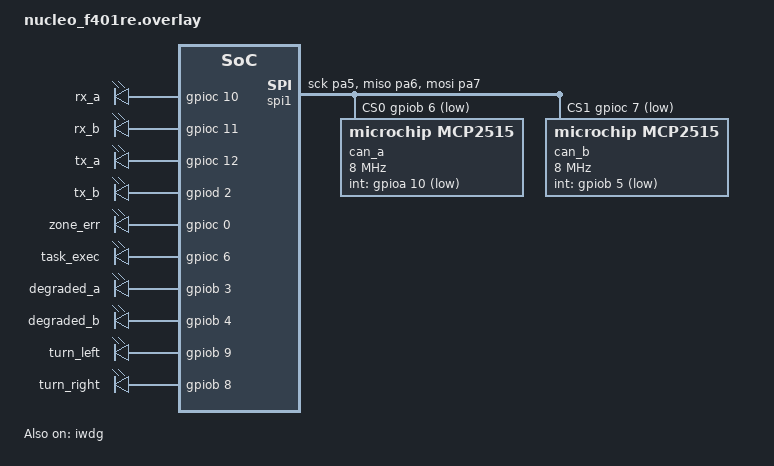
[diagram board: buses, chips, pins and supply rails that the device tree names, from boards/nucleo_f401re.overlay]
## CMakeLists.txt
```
cmake_minimum_required(VERSION 3.20.0)
set(NODE_ID 2 CACHE STRING "2=Front, 3=Rear")
if(NODE_ID STREQUAL "3")
  list(APPEND EXTRA_DTC_OVERLAY_FILE "${CMAKE_CURRENT_SOURCE_DIR}/boards/rear.overlay")
  list(APPEND EXTRA_CONF_FILE "${CMAKE_CURRENT_SOURCE_DIR}/rear.conf")
else()
  list(APPEND EXTRA_DTC_OVERLAY_FILE "${CMAKE_CURRENT_SOURCE_DIR}/boards/front.overlay")
  list(APPEND EXTRA_CONF_FILE "${CMAKE_CURRENT_SOURCE_DIR}/front.conf")
endif()
find_package(Zephyr REQUIRED HINTS $ENV{ZEPHYR_BASE})
project(lab3_heartbeat)
set(NODE_ID 2 CACHE STRING "2=Front, 3=Rear")
if(NOT NODE_ID MATCHES "^[23]$")
  message(FATAL_ERROR "NODE_ID must be 2 or 3")
endif()
target_sources(app PRIVATE src/main.c src/runtime.c ../logic/blinkers/blinkers.c ../logic/system/system_state.c)
set(LAB3_PROFILE_TASK 0 CACHE STRING "Optional task execution marker (0=off,1..8)")
target_compile_definitions(app PRIVATE LAB3_PROFILE_TASK=${LAB3_PROFILE_TASK})
target_include_directories(app PRIVATE ../../pi ../../shared ../logic/blinkers ../logic/system)
target_compile_definitions(app PRIVATE NODE_ID=${NODE_ID})
if(NODE_ID STREQUAL "2")
  target_sources(app PRIVATE src/steer_task.c src/relay_task.c src/force_task.c ../logic/steering/servo.c)
  target_include_directories(app PRIVATE ../logic/steering)
else()
  target_sources(app PRIVATE src/drive_task.c ../logic/drive/motor_control.c
                             ../logic/drive/dual_speed_pid.c ../logic/instrumentation/test_points.c)
  target_include_directories(app PRIVATE ../logic/drive ../logic/instrumentation)
endif()
```

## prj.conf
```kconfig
CONFIG_GPIO=y
CONFIG_WATCHDOG=y
# Defer IWDG start to lab3_watchdog_start(); Zephyr otherwise installs a
# 100 ms boot timeout and rejects the application's timeout with -ENOMEM.
CONFIG_WDT_DISABLE_AT_BOOT=y
CONFIG_SPI=y
CONFIG_CAN=y
CONFIG_CAN_MCP2515=y
CONFIG_CAN_INIT_PRIORITY=80
CONFIG_CAN_MAX_FILTER=8
CONFIG_SERIAL=y
CONFIG_CONSOLE=y
CONFIG_UART_CONSOLE=y
CONFIG_PRINTK=y
CONFIG_HWINFO=y
CONFIG_MAIN_STACK_SIZE=2048
CONFIG_LOG=y
CONFIG_LOG_DEFAULT_LEVEL=3
CONFIG_LOG_BUFFER_SIZE=2048
CONFIG_MINIMAL_LIBC=y
CONFIG_PICOLIBC=n
CONFIG_MAIN_THREAD_PRIORITY=6
```

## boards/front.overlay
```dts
#include <zephyr/dt-bindings/pwm/pwm.h>

/ {
    aliases { steering-servo = &steering_servo; relay-tx = &relay_tx; };
    relay_marker {
        compatible = "gpio-leds";
        relay_tx: relay-tx { gpios = <&gpiob 10 GPIO_ACTIVE_HIGH>; }; /* D6 */
    };
    servo_pwms {
        compatible = "pwm-leds";
        steering_servo: steering-servo {
            pwms = <&pwm1 1 PWM_MSEC(20) PWM_POLARITY_NORMAL>;
        };
    };
};

/* Reuse the remote Lab2 servo assignment: Arduino D7 / PA8 / TIM1_CH1.
 * I2C3 is disabled in the common overlay to release PA8. */
&timers1 {
    st,prescaler = <83>;
    status = "okay";
    pwm1: pwm {
        pinctrl-0 = <&tim1_ch1_pa8>;
        pinctrl-names = "default";
        status = "okay";
    };
};
```

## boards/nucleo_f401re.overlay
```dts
#include <zephyr/dt-bindings/gpio/gpio.h>

/ {
    aliases {
        can-a = &can_a; can-b = &can_b;
        degraded-a = &degraded_a; degraded-b = &degraded_b;
        blinker-fl = &turn_left; blinker-fr = &turn_right;
        can-rx-a = &rx_a; can-rx-b = &rx_b;
        can-tx-a = &tx_a; can-tx-b = &tx_b;
        zone-err = &zone_err; task-exec = &task_exec;
    };
    scope_markers {
        compatible = "gpio-leds";
        rx_a: rx-a { gpios = <&gpioc 10 GPIO_ACTIVE_HIGH>; }; /* CN7 pin 1 */
        rx_b: rx-b { gpios = <&gpioc 11 GPIO_ACTIVE_HIGH>; }; /* CN7 pin 2 */
        tx_a: tx-a { gpios = <&gpioc 12 GPIO_ACTIVE_HIGH>; }; /* CN7 pin 3 */
        tx_b: tx-b { gpios = <&gpiod 2 GPIO_ACTIVE_HIGH>; };  /* CN7 pin 4 */
        zone_err: zone-err { gpios = <&gpioc 0 GPIO_ACTIVE_HIGH>; }; /* A5 */
        task_exec: task-exec { gpios = <&gpioc 6 GPIO_ACTIVE_HIGH>; }; /* CN10 pin 4 */
    };
    degraded_leds {
        compatible = "gpio-leds";
        degraded_a: degraded-a { gpios = <&gpiob 3 GPIO_ACTIVE_HIGH>; }; /* Arduino D3 */
        degraded_b: degraded-b { gpios = <&gpiob 4 GPIO_ACTIVE_HIGH>; }; /* Arduino D5 */
    };
    turn_outputs {
        compatible = "gpio-leds";
        turn_left: turn-left { gpios = <&gpiob 9 GPIO_ACTIVE_HIGH>; }; /* Arduino D14 */
        turn_right: turn-right { gpios = <&gpiob 8 GPIO_ACTIVE_HIGH>; }; /* Arduino D15 */
    };
    leds { status = "disabled"; };
    pwmleds { status = "disabled"; };
};
&green_led_2 { status = "disabled"; };
&pwm2 { status = "disabled"; };
/* Release PB6 from the default USART1 mapping, PA5 from LED/PWM. */
&usart1 { status = "disabled"; };
&spi2 { status = "disabled"; };
&i2c1 { status = "disabled"; };
&i2c3 { status = "disabled"; };
&iwdg { status = "okay"; };
&spi1 {
    status = "okay";
    pinctrl-0 = <&spi1_sck_pa5 &spi1_miso_pa6 &spi1_mosi_pa7>;
    pinctrl-names = "default";
    cs-gpios = <&gpiob 6 (GPIO_ACTIVE_LOW | GPIO_PULL_UP)>,
               <&gpioc 7 (GPIO_ACTIVE_LOW | GPIO_PULL_UP)>;
    can_a: mcp2515@0 {
        compatible = "microchip,mcp2515";
        reg = <0>;
        spi-max-frequency = <8000000>; /* 84 MHz APB2 / 16 = 5.25 MHz (MCP2515 max 10 MHz) */
        osc-freq = <16000000>;
        int-gpios = <&gpioa 10 GPIO_ACTIVE_LOW>;
        bitrate = <500000>;
        sample-point = <875>;
        status = "okay";
    };
    can_b: mcp2515@1 {
        compatible = "microchip,mcp2515";
        reg = <1>;
        spi-max-frequency = <8000000>; /* 84 MHz APB2 / 16 = 5.25 MHz (MCP2515 max 10 MHz) */
        osc-freq = <16000000>;
        int-gpios = <&gpiob 5 GPIO_ACTIVE_LOW>;
        bitrate = <500000>;
        sample-point = <875>;
        status = "okay";
    };
};
```

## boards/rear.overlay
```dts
#include <zephyr/dt-bindings/pwm/pwm.h>
#include <zephyr/dt-bindings/gpio/gpio.h>
/ {
    aliases {
        /delete-property/ blinker-fl;
        /delete-property/ blinker-fr;
        blinker-rl = &turn_left;
        blinker-rr = &turn_right;
        motor-left-pwm = &motor_left_pwm;
        motor-right-pwm = &motor_right_pwm;
        motor-left-in1 = &motor_left_in1;
        motor-left-in2 = &motor_left_in2;
        motor-right-in1 = &motor_right_in1;
        motor-right-in2 = &motor_right_in2;
    };
    motor_pwms {
        compatible = "pwm-leds";
        motor_left_pwm: left { pwms = <&pwm2 3 PWM_KHZ(20) PWM_POLARITY_NORMAL>; }; /* D6 */
        motor_right_pwm: right { pwms = <&pwm1 1 PWM_KHZ(20) PWM_POLARITY_NORMAL>; }; /* D7 */
    };
    motor_direction {
        compatible = "gpio-leds";
        motor_left_in1: left-in1 { gpios = <&gpioa 0 GPIO_ACTIVE_HIGH>; }; /* A0 */
        motor_left_in2: left-in2 { gpios = <&gpioa 1 GPIO_ACTIVE_HIGH>; }; /* A1 */
        motor_right_in1: right-in1 { gpios = <&gpioa 4 GPIO_ACTIVE_HIGH>; }; /* A2 */
        motor_right_in2: right-in2 { gpios = <&gpiob 0 GPIO_ACTIVE_HIGH>; }; /* A3 */
    };
    zephyr,user {
        cmd-rx-test-gpios = <&gpioc 1 GPIO_ACTIVE_HIGH>; /* A4: accepted CTRL */
        pwm-set-test-gpios = <&gpioa 9 GPIO_ACTIVE_HIGH>; /* D8: final left PWM write */
    };
};

/* PA6/PA7 stay on SPI1. USART2 console PA2/PA3 remains untouched. */
&timers2 { status = "okay"; st,prescaler = <0>; };
&pwm2 {
    status = "okay";
    pinctrl-0 = <&tim2_ch3_pb10>; /* D6 */
    pinctrl-names = "default";
};
&timers1 {
    status = "okay";
    st,prescaler = <0>;
    pwm1: pwm {
        status = "okay";
        pinctrl-0 = <&tim1_ch1_pa8>; /* D7, Rear only */
        pinctrl-names = "default";
    };
};
```

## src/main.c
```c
/* Dual-CAN dispatch, health, split lights and zone-specific steering/drive outputs. */
#include <zephyr/kernel.h>
#include <zephyr/device.h>
#include <zephyr/drivers/can.h>
#include <zephyr/drivers/gpio.h>
#include <zephyr/sys/atomic.h>
#include <zephyr/sys/printk.h>
#include "lab3_can_rx.h"
#include "lab3_fault_policy.h"
#include "blinkers.h"
#include "system_state.h"
#include "runtime.h"
#include "transport_gate.h"
#if NODE_ID == 2
#include "steer_task.h"
#include "relay_task.h"
#include "force_task.h"
#else
#include "drive_task.h"
#include "test_points.h"
#endif

struct bus {
    const struct device *dev;
    unsigned index;
    bool ready;
    struct k_mutex tx_gate;
    atomic_t tx, tx_errors, dropped;
    uint32_t previous_tx, recoveries;
    int64_t last_progress, last_recovery;
    enum can_state controller_state;
    struct can_bus_err_cnt errors;
    bool tx_stalled;
};
static struct bus buses[] = {
    {.dev = DEVICE_DT_GET(DT_ALIAS(can_a)), .index = 0},
    {.dev = DEVICE_DT_GET(DT_ALIAS(can_b)), .index = 1},
};
struct received { struct can_frame frame; unsigned bus; };
K_MSGQ_DEFINE(received_q, sizeof(struct received), 64, 4);
static struct lab3_can_rx rx;
static const struct gpio_dt_spec leds[] = {
    GPIO_DT_SPEC_GET(DT_ALIAS(degraded_a), gpios),
    GPIO_DT_SPEC_GET(DT_ALIAS(degraded_b), gpios),
};
static struct lab3_health health;
static bool leds_ready;
static uint8_t led_bits = 255;
static struct system_state system_status;
static bool ctrl_seen, ctrl_stale = true, blink_seen, use_master_phase;
static uint64_t ctrl_at, blink_at, remote_fault_until;
static int16_t steering;
static uint8_t throttle, brake, ctrl_buttons, ctrl_flags;
static uint8_t blink_mode, blink_phase, peer_state[3];
static uint32_t ctrl_count, blink_count;
static uint8_t pending_reason, fault_seq, fault_pending;
static uint64_t fault_at;
static struct can_frame fault_frame, hb_frame;
static uint8_t hb_pending;
#define CTRL_TIMEOUT_MS 100u
#define BLINK_TIMEOUT_MS 750u
static void abort_local_tx(void);
static void local_button_action(bool failed)
{
    if (!failed) return; /* Main requires a fresh CTRL before resuming. */
#if NODE_ID == 2
    relay_task_pause();steer_task_submit(0,false,0);
#else
    drive_task_submit(0,0,false,0);
#endif
    abort_local_tx();
}

static void dispatch_frame(const struct received *item, uint64_t now)
{
    const struct can_frame *f = &item->frame;
    lab3_rx_mark(item->bus); /* Every dispatch, including duplicate copies. */
    if (f->flags & (CAN_FRAME_IDE | CAN_FRAME_RTR)) return;
    enum lab3_rx_result result = lab3_receive(&rx,f->id,item->bus,f->data,f->dlc,now);
#if NODE_ID == 2
    relay_task_observe(f,item->bus,result,now);
#endif
    if (result == LAB3_RX_INVALID && f->id == CAN_ID_CTRL) {
        system_state_bad_input(&system_status);
        if (!lab3_local_failed()) pending_reason=FAULT_R_BAD_INPUT;
        return;
    }
    if (result != LAB3_RX_NEW) return;
    int peer=lab3_hb_peer(f->id);
    if (peer>=0) { peer_state[peer]=f->data[HB_STATE]; return; }
    if (f->id==CAN_ID_CTRL) {
#if NODE_ID == 3
        if (test_points_command_received()) {
            system_state_output_failed(&system_status);pending_reason=FAULT_R_OUTPUT;
        }
#endif
        steering=(int16_t)((uint16_t)f->data[1] | ((uint16_t)f->data[2]<<8));
        throttle=f->data[CTRL_THROTTLE]; brake=f->data[CTRL_BRAKE];
        ctrl_buttons=f->data[CTRL_BUTTONS]; ctrl_flags=can_flags_of(f->data);
        ctrl_stale=!!(ctrl_flags & CTRL_FLAG_UDP_STALE);
        if (!ctrl_stale) {
            ctrl_seen=true; ctrl_at=now; system_state_valid(&system_status);
        }
        ++ctrl_count;
    } else if (f->id==CAN_ID_BLINK) {
        blink_mode=f->data[BLINK_MODE]; blink_phase=f->data[BLINK_PHASE];
        blink_seen=true; blink_at=now; ++blink_count;
    } else if (f->id==CAN_ID_FAULT && f->data[FAULT_ZONE]!=NODE_ID) {
        remote_fault_until=now+100;
    }
}

static void update_control_and_lights(uint64_t now)
{
    if (lab3_runtime_failed() && !system_status.output_fault) {
        system_state_output_failed(&system_status);pending_reason=FAULT_R_OUTPUT;
    }
#if NODE_ID == 2
    if ((steer_task_failed() || relay_task_failed()) && !system_status.output_fault) {
        system_state_output_failed(&system_status);
        pending_reason=FAULT_R_OUTPUT;
    }
#else
    if (drive_task_failed() && !system_status.output_fault) {
        system_state_output_failed(&system_status);
        pending_reason=FAULT_R_OUTPUT;
    }
#endif
    bool peer_fault=false;
    for (unsigned p=0;p<3;++p)
        if (p!=NODE_ID-1 && peer_state[p]==ZONE_STATE_LOCAL_FAULT &&
            (lab3_hb_fresh(&rx,p,0,now)||lab3_hb_fresh(&rx,p,1,now))) peer_fault=true;
    system_status.link_ok=ctrl_seen && !ctrl_stale && now-ctrl_at<CTRL_TIMEOUT_MS &&
                          !health.missing_peers && !peer_fault && now>=remote_fault_until;
    enum system_reason reason=system_state_reason(&system_status);
    lab3_err(reason!=SYS_OK);
#if NODE_ID == 2
    steer_task_submit(steering, reason==SYS_OK, ctrl_count);
#else
    drive_task_submit(throttle,brake,reason==SYS_OK,ctrl_count);
#endif
    bool fresh_blink=blink_seen && now-blink_at<BLINK_TIMEOUT_MS;
    bool master_live=lab3_hb_fresh(&rx,0,0,now)||lab3_hb_fresh(&rx,0,1,now);
    bool follow_master=lab3_follow_master(fresh_blink,master_live,reason==SYS_OK,blink_mode);
    int rc=0;
    if (follow_master) {
        static uint8_t applied_mode=255,applied_phase=255;
        if (!use_master_phase || applied_mode!=blink_mode || applied_phase!=blink_phase) {
            rc=blinkers_apply_phase((enum blinker_mode)blink_mode,blink_phase!=0);
            applied_mode=blink_mode;applied_phase=blink_phase;
        }
        use_master_phase=true;
    } else if (reason!=SYS_OK) {
        if (use_master_phase || blinkers_get_mode()!=BLINKER_MODE_HAZARD)
            rc=blinkers_set_error(true);
        use_master_phase=false;
    } else {
        if (use_master_phase || blinkers_get_mode()!=BLINKER_MODE_OFF)
            rc=blinkers_apply_phase(BLINKER_MODE_OFF,false);
        use_master_phase=false;
    }
    if (rc) { system_state_output_failed(&system_status); pending_reason=FAULT_R_OUTPUT; }
}

static void update_health(uint64_t now)
{
    health = lab3_health_get(&rx, NODE_ID - 1, now);
    for (unsigned b = 0; b < 2; ++b) {
        k_mutex_lock(&buses[b].tx_gate,K_FOREVER);
        bool degraded=!buses[b].ready || buses[b].tx_stalled ||
                      buses[b].controller_state==CAN_STATE_BUS_OFF;
        k_mutex_unlock(&buses[b].tx_gate);
        if (degraded) health.degraded|=1u<<b;
    }
    uint8_t display = health.degraded;
    if (leds_ready && led_bits != display) {
        int a = gpio_pin_set_dt(&leds[0], !!(display & 1));
        int b = gpio_pin_set_dt(&leds[1], !!(display & 2));
        if (!a && !b) led_bits = display;
        else printk("DEG output failed %d/%d\n", a, b);
        printk("N%d DEG_A=%d DEG_B=%d missing_peers=0x%x isolated=%d\n", NODE_ID,
            !!(health.degraded & 1), !!(health.degraded & 2), health.missing_peers, health.isolated);
    }
}

static void tx_done(const struct device *dev, int error, void *arg)
{
    ARG_UNUSED(dev);
    struct bus *b = arg;
    if (error) atomic_inc(&b->tx_errors); else atomic_inc(&b->tx);
}
static bool frame_allowed(const struct can_frame *frame)
{ return lab3_tx_allowed(lab3_local_failed(),NODE_ID,frame->id,frame->data); }
static void queue_marked(void *arg)
{ lab3_tx_mark(((struct bus *)arg)->index); }
static int node_send(unsigned bus,const struct can_frame *frame)
{
    struct bus *b=&buses[bus];
    return lab3_transport_send(&b->tx_gate,b->dev,&b->ready,frame,frame_allowed,tx_done,b,queue_marked);
}
static void abort_local_tx(void)
{
    /* TEST_BTN thread, never ISR. Drain old hardware TX under the same
     * per-controller gate used by every send and recovery operation. */
    for (unsigned i=0;i<ARRAY_SIZE(buses);i++) {
        struct bus *b=&buses[i];
        k_mutex_lock(&b->tx_gate,K_FOREVER);
        if (b->ready) (void)lab3_transport_restart_locked(b->dev,&b->ready);
        b->last_progress=b->last_recovery=k_uptime_get();
        b->previous_tx=(uint32_t)atomic_get(&b->tx);b->tx_stalled=false;
        k_mutex_unlock(&b->tx_gate);
    }
}
#if NODE_ID == 2
static int relay_send(unsigned bus,const struct can_frame *frame)
{
    /* Include relay completions in bus progress so recovery does not mistake
     * a busy forwarding controller for a stalled controller. */
    return node_send(bus,frame);
}
#endif
static void receive(const struct device *dev, struct can_frame *frame, void *arg)
{
    ARG_UNUSED(dev);
    struct bus *b = arg;
    struct received item = {.frame = *frame, .bus = b->index};
    if (k_msgq_put(&received_q, &item, K_NO_WAIT)) atomic_inc(&b->dropped);
}
static void recover_controllers(int64_t now)
{
    for (unsigned i = 0; i < ARRAY_SIZE(buses); ++i) {
        struct bus *b = &buses[i];
        if (!device_is_ready(b->dev)) continue;
        if (k_mutex_lock(&b->tx_gate,K_NO_WAIT)) continue;
        uint32_t done = (uint32_t)atomic_get(&b->tx);
        if (done != b->previous_tx) { b->previous_tx = done;b->last_progress = now;b->tx_stalled=false; }
        int rc = can_get_state(b->dev, &b->controller_state, &b->errors);
        if (lab3_local_failed()) { b->last_progress=now;b->tx_stalled=false; }
        else if (now-b->last_progress>=LAB3_HEARTBEAT_TIMEOUT_MS) b->tx_stalled=true;
        bool recover = !b->ready || b->tx_stalled ||
                       (!rc && b->controller_state == CAN_STATE_BUS_OFF);
        /* A missing ACK can leave MCP2515 error-passive with all TX slots held;
         * it need not reach bus-off. Stop aborts TX and releases driver slots.
         * Retry only the affected controller, with staggered bounded backoff. */
        int64_t retry_ms = 60 + NODE_ID * 2 + (int)i * 3;
        if (!recover || now - b->last_recovery < retry_ms) {
            k_mutex_unlock(&b->tx_gate);continue;
        }
        b->last_recovery = now;
        int restart=lab3_transport_restart_locked(b->dev,&b->ready);
        /* A restarted controller stays degraded until actual TX progress.
         * The staggered >=60 ms retry gives it an observation window. */
        ++b->recoveries;
        k_mutex_unlock(&b->tx_gate);
        if (b->recoveries == 1 || b->recoveries % 25 == 0)
            printk("N%d CAN_%c recover=%u state=%d TEC=%u REC=%u restart=%d\n",
                NODE_ID, 'A'+i, b->recoveries, b->controller_state,
                b->errors.tx_err_cnt, b->errors.rx_err_cnt, restart);
    }
}
static void heartbeat(uint8_t seq, uint64_t now)
{
    ARG_UNUSED(now);
    struct can_frame frame = {.id = CAN_ID_HB_N1 + NODE_ID - 1, .dlc = CAN_FRAME_DLC};
    enum system_reason reason=system_state_reason(&system_status);
    frame.data[0] = can_byte0(seq, reason==SYS_OK ? 0 : CAN_FLAG_SYS_ERROR);
    frame.data[HB_STATE] = reason==SYS_OK ? ZONE_STATE_NORMAL :
        (reason==SYS_BAD_INPUT || reason==SYS_OUTPUT_FAULT) ? ZONE_STATE_LOCAL_FAULT : ZONE_STATE_SYS_ERROR;
    frame.data[HB_REASON] = reason;
    frame.data[HB_BUS] = health.degraded;
#if NODE_ID == 3
    struct lab3_drive_status drive=drive_task_status();
    frame.data[HB_DUTY]=drive.duty;
    /* Scope-only output: do not advertise the Lab2 physical-drive armed bit. */
    frame.data[HB_DRIVE_FLAGS]=(drive.braking ? 2u : 0u) | (drive.fault ? 4u : 0u);
#endif
    /* Previously unused bytes expose logical HB deliveries for stage-1 verification. */
    uint16_t applied = lab3_hb_applied_total(&rx);
    frame.data[6] = (uint8_t)applied; frame.data[7] = (uint8_t)(applied >> 8);
    hb_frame=frame;hb_pending=3;
}
static void send_pending_heartbeat(void)
{
    if (lab3_local_failed()) { hb_pending=0;return; }
    for (unsigned b=0;b<2;++b) {
        if (!(hb_pending&(1u<<b))) continue;
        int rc=node_send(b,&hb_frame);
        if (!rc) hb_pending &= ~(1u<<b);
        else if (rc != -EAGAIN) atomic_inc(&buses[b].tx_errors);
    }
}
static void send_pending_fault(uint64_t now)
{
    if (fault_pending && now-fault_at>=100) fault_pending=0;
    if (!fault_pending && pending_reason && now-fault_at>=20) {
        memset(&fault_frame,0,sizeof(fault_frame));
        fault_frame.id=CAN_ID_FAULT;fault_frame.dlc=8;
        fault_frame.data[0]=can_byte0(fault_seq++,CAN_FLAG_SYS_ERROR);
        fault_frame.data[FAULT_ZONE]=NODE_ID;fault_frame.data[FAULT_REASON]=pending_reason;
        pending_reason=0;fault_pending=3;fault_at=now;
    }
    for (unsigned b=0;b<2;++b)
        if ((fault_pending&(1u<<b)) &&
            !node_send(b,&fault_frame)) fault_pending &= ~(1u<<b);
}
int main(void)
{
    printk("\nLAB3 CTRL + BLINK N%d; left D14/right D15\n", NODE_ID);
    for (unsigned b=0;b<ARRAY_SIZE(buses);b++) k_mutex_init(&buses[b].tx_gate);
    int runtime_rc=lab3_runtime_init(local_button_action);
    leds_ready = true;
    for (unsigned b = 0; b < 2; ++b) {
        if (!gpio_is_ready_dt(&leds[b]) || gpio_pin_configure_dt(&leds[b], GPIO_OUTPUT_INACTIVE))
            leds_ready = false;
    }
    int lights_rc=blinkers_init();
    int actuator_rc=0;
#if NODE_ID == 2
    actuator_rc=steer_task_init();
    printk("STEER: D7/PA8, 50 Hz, 1000/1500/2000 us; error centers; init=%d\n",actuator_rc);
#else
    actuator_rc=drive_task_init();
    printk("DRIVE scope outputs: PWM D6/D7 20kHz; DIR A0/A1,A2/A3; CTRL_RX A4; PWM_SET D8; init=%d\n",actuator_rc);
#endif
    system_state_init(&system_status,!runtime_rc && leds_ready && lights_rc==0 && actuator_rc==0);
    if (!lights_rc) (void)blinkers_set_error(true);
    for (unsigned b = 0; b < 2; ++b) {
        struct bus *bus = &buses[b];
        k_mutex_lock(&bus->tx_gate,K_FOREVER);
        if (!device_is_ready(bus->dev)) {
            k_mutex_unlock(&bus->tx_gate);printk("CAN_%c NOT READY\n", 'A' + b);continue;
        }
        int rc = can_set_mode(bus->dev, CAN_MODE_NORMAL);
        if (!rc) rc = can_set_bitrate(bus->dev, 500000);
        for (unsigned p = 0; !rc && p < 3; ++p) {
            struct can_filter f = {.id = CAN_ID_HB_N1 + p, .mask = CAN_STD_ID_MASK};
            int filter = can_add_rx_filter(bus->dev, receive, bus, &f);
            if (filter < 0) rc = filter;
        }
        const uint16_t app_ids[]={CAN_ID_CTRL,CAN_ID_BLINK,CAN_ID_FAULT,CAN_ID_FORCE};
        for (unsigned p=0;!rc && p<ARRAY_SIZE(app_ids);++p) {
            struct can_filter f={.id=app_ids[p],.mask=CAN_STD_ID_MASK};
            int filter=can_add_rx_filter(bus->dev,receive,bus,&f);
            if (filter<0) rc=filter;
        }
        if (!rc) rc = can_start(bus->dev);
        bus->ready = rc == 0;
        bus->controller_state = bus->ready ? CAN_STATE_ERROR_ACTIVE : CAN_STATE_STOPPED;
        bus->last_progress = k_uptime_get();
        k_mutex_unlock(&bus->tx_gate);
        printk("CAN_%c init=%d\n", 'A' + b, rc);
    }
#if NODE_ID == 2
    int relay_rc=relay_task_init(relay_send);
    if (relay_rc) { system_state_output_failed(&system_status);pending_reason=FAULT_R_OUTPUT; }
    printk("RELAY: N2 only, original payload, priority 4, D6 marker; init=%d\n",relay_rc);
    force_task_init(node_send);
#endif
    uint32_t workers=BIT(WORK_MAIN)|BIT(WORK_CONTROL)|BIT(WORK_BUTTON);
#if NODE_ID == 2
    workers|=BIT(WORK_RELAY)|BIT(WORK_FORCE);
#else
    workers|=BIT(WORK_PID);
#endif
    int watchdog_rc=lab3_watchdog_start(workers);
    if (watchdog_rc) { system_state_output_failed(&system_status);pending_reason=FAULT_R_OUTPUT; }
    printk("USER button single=fail/double=restore; ERR=A5; independent watchdog init=%d\n",watchdog_rc);
    int64_t next_hb = k_uptime_get(), next_status = next_hb, next_recovery = next_hb;
    uint8_t seq = 0;
    for (;;) {
        struct received item;
        int64_t now = k_uptime_get();
        int64_t wait = next_hb > now ? next_hb - now : 0;
        if (wait > 1) wait = 1; /* Refresh LED health even when both receive queues are quiet. */
        /* Drain the queue before housekeeping so a CTRL never waits a full loop pass
         * per frame queued ahead of it. Bounded so a babbling bus cannot starve HB. */
        k_timeout_t first = K_MSEC(wait);
        for (unsigned n = 0; n < 16 && !k_msgq_get(&received_q, &item, first); ++n) {
            first = K_NO_WAIT;
            lab3_profile_begin(PROFILE_DISPATCH);
            uint32_t ctrl_before = ctrl_count;
            uint64_t at = (uint64_t)k_uptime_get();
            dispatch_frame(&item, at);
            /* A new CTRL goes straight to STEER/DRIVE, so CAN_RX's C is one pulse. */
            if (ctrl_count != ctrl_before) update_control_and_lights(at);
            lab3_profile_end(PROFILE_DISPATCH);
        }
        now = k_uptime_get();
        bool local_failed=lab3_local_failed();
        if (system_status.self_test!=local_failed) {
            system_status.self_test=local_failed;hb_pending=0;fault_pending=0;
            if (local_failed) pending_reason=FAULT_R_SELF_TEST;
            else { ctrl_seen=false;system_status.seen_valid=false; }
        }
        if (now >= next_recovery) {
            recover_controllers(now);
            next_recovery = k_uptime_get() + 10;
        }
        lab3_profile_begin(PROFILE_HEALTH);
        update_health(now);
        update_control_and_lights(now);
        lab3_profile_end(PROFILE_HEALTH);
        if (now >= next_hb) {
            if (!local_failed) {
                heartbeat(seq, now);
                seq = (seq + 1) & CAN_SEQ_MASK;
            }
            next_hb += ((now - next_hb) / 20 + 1) * 20;
        }
        send_pending_fault(now);
        lab3_profile_begin(PROFILE_HB);
        send_pending_heartbeat();
        lab3_profile_end(PROFILE_HB);
        lab3_watchdog_poll();
        if (now >= next_status) {
            printk("N%d new=%u dup=%u repeat=%u old=%u conflict=%u invalid=%u TX=%ld/%ld TXERR=%ld/%ld DROP=%ld/%ld\n",
                NODE_ID, rx.counts[LAB3_RX_NEW], rx.counts[LAB3_RX_DUPLICATE],
                rx.counts[LAB3_RX_REPEAT], rx.counts[LAB3_RX_OLD],
                rx.counts[LAB3_RX_CONFLICT], rx.counts[LAB3_RX_INVALID],
                (long)atomic_get(&buses[0].tx), (long)atomic_get(&buses[1].tx),
                (long)atomic_get(&buses[0].tx_errors), (long)atomic_get(&buses[1].tx_errors),
                (long)atomic_get(&buses[0].dropped), (long)atomic_get(&buses[1].dropped));
            for (unsigned p = 0; p < 3; ++p) if (p != NODE_ID - 1)
                printk("  peer N%u applied=%u A=%u B=%u fresh=%d/%d\n", p+1,
                    rx.hb_applied[p], rx.hb_bus_count[p][0], rx.hb_bus_count[p][1],
                    lab3_hb_fresh(&rx,p,0,now), lab3_hb_fresh(&rx,p,1,now));
            printk("  CAN states=%d/%d TEC=%u/%u recoveries=%u/%u\n",
                buses[0].controller_state,buses[1].controller_state,
                buses[0].errors.tx_err_cnt,buses[1].errors.tx_err_cnt,
                buses[0].recoveries,buses[1].recoveries);
            printk("  CTRL applied=%u steer=%d throttle=%u brake=%u buttons=%u flags=%u state=%s BLINK applied=%u mode=%u phase=%u\n",
                ctrl_count,steering,throttle,brake,ctrl_buttons,ctrl_flags,
                system_reason_name(system_state_reason(&system_status)),blink_count,blink_mode,blink_phase);
#if NODE_ID == 2
            printk("  SRV pulse_us=%u output_fault=%d\n",steer_task_pulse_us(),steer_task_failed());
            struct relay_stats relay=relay_task_stats();
            printk("  RELAY queued_to_A/B=%u/%u failed=%u/%u offered=%u suppressed=%u superseded=%u expired=%u\n",
                relay.queued[0],relay.queued[1],relay.failed[0],relay.failed[1],
                relay.offered,relay.suppressed,relay.superseded,relay.expired);
#else
            struct lab3_drive_status drive=drive_task_status();
            struct test_point_counts points=test_points_counts();
            printk("  DRIVE duty=%u brake=%d output_fault=%d CTRL_RX=%u PWM_SET=%u\n",
                   drive.duty,drive.braking,drive.fault,points.command_rx,points.pwm_set);
#endif
            next_status = now + 1000;
        }
    }
}
```

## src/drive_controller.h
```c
#ifndef LAB3_DRIVE_CONTROLLER_H
#define LAB3_DRIVE_CONTROLLER_H
#include "drive_policy.h"
#include "dual_speed_pid.h"
/* Bench plant, NOT encoder data: 200 ms response, 320 RPM at full duty. */
struct lab3_drive_controller {
    struct dual_pid pid;
    struct lab3_drive_output output;
    int32_t target_mrpm,model_mrpm;
    uint64_t boost_until;
    bool running;
};
static inline int lab3_controller_command(struct lab3_drive_controller *s,
        uint8_t throttle,uint8_t brake,bool normal,uint64_t now,uint32_t dt_us)
{
    struct lab3_drive_output requested=lab3_drive_decide(throttle,brake,normal);
    int32_t target=target_mrpm(throttle*10);
    if (requested.mode!=LAB3_DRIVE_FORWARD || !target) {
        dual_pid_reset(&s->pid);s->running=false;s->target_mrpm=0;
        if (requested.mode==LAB3_DRIVE_FORWARD) requested=(struct lab3_drive_output){LAB3_DRIVE_COAST,0};
        s->output=requested;return 0;
    }
    if (!s->running) {
        dual_pid_reset(&s->pid);s->running=true;
        s->boost_until=now+(s->model_mrpm<5000 ? DUAL_START_DURATION_MS : 0);
    }
    s->target_mrpm=target;
    uint16_t permille;
    if (now<s->boost_until && s->model_mrpm<target) {
        permille=feedforward(target);
        if (permille<DUAL_START_DUTY_PERCENT*10) permille=DUAL_START_DUTY_PERCENT*10;
    } else {
        s->boost_until=0;
        int rc=dual_pid_update(&s->pid,target,s->model_mrpm,dt_us,&permille);
        if (rc) return rc;
    }
    s->output=(struct lab3_drive_output){LAB3_DRIVE_FORWARD,(permille+5)/10};
    return 0;
}
static inline void lab3_model_step(struct lab3_drive_controller *s,uint32_t dt_ms)
{
    int32_t demand=s->output.mode==LAB3_DRIVE_FORWARD ? s->output.duty*3200 : 0;
    uint32_t tau=s->output.mode==LAB3_DRIVE_BRAKE ? 50 : 200;
    s->model_mrpm+=(int32_t)(((int64_t)demand-s->model_mrpm)*dt_ms/(tau+dt_ms));
}
#endif
```

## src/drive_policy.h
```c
#ifndef LAB3_DRIVE_POLICY_H
#define LAB3_DRIVE_POLICY_H
#include <stdbool.h>
#include <stdint.h>
enum lab3_drive_mode { LAB3_DRIVE_COAST, LAB3_DRIVE_FORWARD, LAB3_DRIVE_BRAKE };
struct lab3_drive_output { enum lab3_drive_mode mode; uint8_t duty; };
/* Lab3 scope output, not encoder speed control. Any positive brake wins. */
static inline struct lab3_drive_output lab3_drive_decide(uint8_t throttle,
                                                       uint8_t brake, bool normal)
{
    if (!normal || throttle>100 || brake>100 || brake>0)
        return (struct lab3_drive_output){LAB3_DRIVE_BRAKE,100};
    if (!throttle) return (struct lab3_drive_output){LAB3_DRIVE_COAST,0};
    return (struct lab3_drive_output){LAB3_DRIVE_FORWARD,throttle};
}
#endif
```

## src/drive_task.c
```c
#include <zephyr/kernel.h>
#include <zephyr/sys/atomic.h>
#include "motor_control.h"
#include "drive_task.h"
#include "drive_controller.h"
#include "runtime.h"
K_MUTEX_DEFINE(drive_lock);
K_SEM_DEFINE(drive_event,0,1);
static struct lab3_drive_controller controller;
static uint8_t throttle_target,brake_target;
static bool submitted,normal_target;
static uint32_t generation_target,command_at;
static atomic_t failed,reported;
static int apply(struct lab3_drive_output out)
{
    direction_t direction=out.mode==LAB3_DRIVE_BRAKE ? STOP :
                          out.mode==LAB3_DRIVE_FORWARD ? FORWARD : FREE;
    int left=sys_motor_set(LEFT_MOTOR,out.duty,direction);
    int right=sys_motor_set(RIGHT_MOTOR,out.duty,direction);
    return left ? left : right;
}
static void update_locked(uint32_t dt_ms)
{
    if (atomic_get(&failed)) return;
    uint32_t now=k_uptime_get_32();
    bool normal=normal_target && !lab3_local_failed() && now-command_at<100;
    if (dt_ms) lab3_model_step(&controller,dt_ms);
    int rc=lab3_controller_command(&controller,throttle_target,brake_target,normal,now,dt_ms*1000);
    if (!rc) rc=apply(controller.output);
    if (rc) {
        atomic_set(&failed,1);
        (void)sys_motor_set(LEFT_MOTOR,0,FREE);
        (void)sys_motor_set(RIGHT_MOTOR,0,FREE);
        atomic_set(&reported,0x200);
    } else atomic_set(&reported,controller.output.duty |
                          (controller.output.mode==LAB3_DRIVE_BRAKE ? 0x100 : 0));
}
static void drive_worker(void *a,void *b,void *c)
{
    ARG_UNUSED(a);ARG_UNUSED(b);ARG_UNUSED(c);
    for (;;) {
        if (!k_sem_take(&drive_event,K_MSEC(20))) {
            lab3_profile_begin(PROFILE_DRIVE);
            k_mutex_lock(&drive_lock,K_FOREVER);
            update_locked(0);
            k_mutex_unlock(&drive_lock);
            lab3_profile_end(PROFILE_DRIVE);
        }
        lab3_progress(WORK_CONTROL);
    }
}
static void pid_worker(void *a,void *b,void *c)
{
    ARG_UNUSED(a);ARG_UNUSED(b);ARG_UNUSED(c);
    int64_t last=k_uptime_get(),next=last+10;
    for (;;) {
        k_sleep(K_TIMEOUT_ABS_MS(next));
        int64_t now=k_uptime_get();uint32_t dt=(uint32_t)(now-last);last=now;
        next+=((now-next)/10+1)*10;
        lab3_profile_begin(PROFILE_PID);
        k_mutex_lock(&drive_lock,K_FOREVER);
        update_locked(dt);
        k_mutex_unlock(&drive_lock);
        lab3_profile_end(PROFILE_PID);
        lab3_progress(WORK_PID);
    }
}
K_THREAD_DEFINE(drive_thread,1536,drive_worker,NULL,NULL,NULL,4,0,SYS_FOREVER_MS);
K_THREAD_DEFINE(pid_thread,1536,pid_worker,NULL,NULL,NULL,5,0,SYS_FOREVER_MS);
int drive_task_init(void)
{
    int rc=motor_init();
    if (rc) { atomic_set(&failed,1);atomic_set(&reported,0x200);return rc; }
    k_thread_start(drive_thread);k_thread_start(pid_thread);
    drive_task_submit(0,0,false,0);return 0;
}
void drive_task_submit(uint8_t throttle,uint8_t brake,bool normal,uint32_t generation)
{
    k_mutex_lock(&drive_lock,K_FOREVER);
    bool changed=!submitted || normal!=normal_target || (normal && generation!=generation_target);
    if (changed) {
        throttle_target=throttle;brake_target=brake;normal_target=normal;
        generation_target=generation;submitted=true;command_at=k_uptime_get_32();
    }
    k_mutex_unlock(&drive_lock);
    if (changed) k_sem_give(&drive_event);
}
bool drive_task_failed(void) { return atomic_get(&failed)!=0; }
struct lab3_drive_status drive_task_status(void)
{
    atomic_val_t v=atomic_get(&reported);
    return (struct lab3_drive_status){.duty=v&255,.braking=!!(v&0x100),.fault=!!(v&0x200)};
}
```

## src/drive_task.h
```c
#ifndef LAB3_DRIVE_TASK_H
#define LAB3_DRIVE_TASK_H
#include <stdbool.h>
#include <stdint.h>
struct lab3_drive_status { uint8_t duty; bool braking, fault; };
int drive_task_init(void);
void drive_task_submit(uint8_t throttle, uint8_t brake, bool normal, uint32_t generation);
bool drive_task_failed(void);
struct lab3_drive_status drive_task_status(void);
#endif
```

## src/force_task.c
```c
#include <zephyr/kernel.h>
#include "force_task.h"
#include "runtime.h"
static relay_sender_fn send_frame;
static void force_worker(void *a,void *b,void *c)
{
    ARG_UNUSED(a);ARG_UNUSED(b);ARG_UNUSED(c);
    int64_t next=k_uptime_get();uint8_t seq=0,pending=0;int value=-100;
    struct can_frame frame={.id=CAN_ID_FORCE,.dlc=8};
    for (;;) {
        int64_t now=k_uptime_get();
        if (lab3_local_failed()) pending=0;
        if (now>=next) {
            if (!lab3_local_failed()) {
                frame.data[0]=can_byte0(seq++,0);
                frame.data[FORCE_VALUE]=(uint8_t)(int8_t)value;
                value=value==100 ? -100 : value+1;pending=3;
            }
            next+=((now-next)/50+1)*50;
        }
        if (pending) {
            lab3_profile_begin(PROFILE_FORCE);
            for (unsigned b=0;b<2;b++)
                if ((pending & (1u<<b)) && !send_frame(b,&frame)) pending&=~(1u<<b);
            lab3_profile_end(PROFILE_FORCE);
        }
        lab3_progress(WORK_FORCE);
        int64_t wait=next-k_uptime_get();
        if (wait>20) wait=20;
        if (pending && wait>1) wait=1;
        k_sleep(K_MSEC(wait>0 ? wait : 1));
    }
}
K_THREAD_DEFINE(force_thread,1024,force_worker,NULL,NULL,NULL,6,0,SYS_FOREVER_MS);
void force_task_init(relay_sender_fn sender)
{ send_frame=sender;k_thread_start(force_thread); }
```

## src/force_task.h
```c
#ifndef LAB3_FORCE_TASK_H
#define LAB3_FORCE_TASK_H
#include "relay_task.h"
void force_task_init(relay_sender_fn sender);
#endif
```

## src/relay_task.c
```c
#include <errno.h>
#include <zephyr/kernel.h>
#include <zephyr/drivers/gpio.h>
#include <zephyr/sys/atomic.h>
#include "relay_task.h"
#include "lab3_relay.h"
#include "runtime.h"

static const struct gpio_dt_spec marker=GPIO_DT_SPEC_GET(DT_ALIAS(relay_tx),gpios);
K_MUTEX_DEFINE(relay_lock);
K_SEM_DEFINE(relay_event,0,1);
static struct lab3_relay_plan plan;
static relay_sender_fn send_frame;
static atomic_t failed,queued[2],errors[2];

static void relay_worker(void *a,void *b,void *c)
{
    ARG_UNUSED(a);ARG_UNUSED(b);ARG_UNUSED(c);
    bool pending=false;
    for (;;) {
        k_sem_take(&relay_event,pending ? K_MSEC(1) : K_MSEC(20));
        if (lab3_local_failed()) {
            relay_task_pause();pending=false;lab3_progress(WORK_RELAY);continue;
        }
        /* Slots are ordered CTRL, source-specific FAULTs, HBs, then BLINK.
         * Never wait for a TX slot on a disconnected bus. */
        for (unsigned key=0;key<9;key++) for (unsigned bus=0;bus<2;bus++) {
            struct lab3_relay_copy copy;
            k_mutex_lock(&relay_lock,K_FOREVER);
            bool have=lab3_relay_candidate(&plan,key,bus,k_uptime_get(),&copy);
            k_mutex_unlock(&relay_lock);
            if (!have) continue;
            struct can_frame frame={.id=copy.id,.dlc=8};
            memcpy(frame.data,copy.data,8);
            lab3_profile_begin(PROFILE_RELAY);
            int rc=send_frame(bus,&frame); /* SPI outside shared-state lock. */
            lab3_profile_end(PROFILE_RELAY);
            if (!rc) {
                atomic_inc(&queued[bus]);
                if (gpio_pin_toggle_dt(&marker)) atomic_set(&failed,1);
                k_mutex_lock(&relay_lock,K_FOREVER);
                lab3_relay_queued(&plan,key,bus,copy.revision);
                k_mutex_unlock(&relay_lock);
            } else if (rc!=-EAGAIN) {
                atomic_inc(&errors[bus]);
            }
        }
        k_mutex_lock(&relay_lock,K_FOREVER);
        pending=lab3_relay_pending(&plan);
        k_mutex_unlock(&relay_lock);
        lab3_progress(WORK_RELAY);
    }
}
/* Above STEER(5)/dispatch(6), below MCP2515 cooperative RX workers. */
K_THREAD_DEFINE(relay_thread,1536,relay_worker,NULL,NULL,NULL,4,0,SYS_FOREVER_MS);
int relay_task_init(relay_sender_fn sender)
{
    if (!sender || !gpio_is_ready_dt(&marker)) { atomic_set(&failed,1);return -ENODEV; }
    int rc=gpio_pin_configure_dt(&marker,GPIO_OUTPUT_INACTIVE);
    if (rc) { atomic_set(&failed,1);return rc; }
    send_frame=sender;
    k_thread_start(relay_thread);
    return 0;
}
void relay_task_observe(const struct can_frame *f,unsigned bus,
                        enum lab3_rx_result result,uint64_t now)
{
    if (lab3_local_failed() || f->dlc!=8 || (f->flags & (CAN_FRAME_IDE|CAN_FRAME_RTR))) return;
    k_mutex_lock(&relay_lock,K_FOREVER);
    lab3_relay_observe(&plan,f->id,f->data,bus,result,now);
    bool pending=lab3_relay_pending(&plan);
    k_mutex_unlock(&relay_lock);
    if (pending) k_sem_give(&relay_event);
}
void relay_task_pause(void)
{
    k_mutex_lock(&relay_lock,K_FOREVER);
    for (unsigned i=0;i<9;i++) plan.slots[i].pending=0;
    k_mutex_unlock(&relay_lock);
}
bool relay_task_failed(void) { return atomic_get(&failed)!=0; }
struct relay_stats relay_task_stats(void)
{
    struct relay_stats s;
    for (unsigned b=0;b<2;b++) { s.queued[b]=atomic_get(&queued[b]);s.failed[b]=atomic_get(&errors[b]); }
    k_mutex_lock(&relay_lock,K_FOREVER);
    s.offered=plan.offered;s.suppressed=plan.suppressed;
    s.superseded=plan.superseded;s.expired=plan.expired;
    k_mutex_unlock(&relay_lock);
    return s;
}
```

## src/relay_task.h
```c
#ifndef LAB3_RELAY_TASK_H
#define LAB3_RELAY_TASK_H
#include <zephyr/drivers/can.h>
#include "lab3_can_rx.h"
typedef int (*relay_sender_fn)(unsigned bus,const struct can_frame *frame);
struct relay_stats {
    uint32_t queued[2],failed[2],offered,suppressed,superseded,expired;
};
int relay_task_init(relay_sender_fn sender);
void relay_task_pause(void);
void relay_task_observe(const struct can_frame *frame,unsigned bus,
                        enum lab3_rx_result result,uint64_t now);
bool relay_task_failed(void);
struct relay_stats relay_task_stats(void);
#endif
```

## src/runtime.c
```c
#include <errno.h>
#include <zephyr/kernel.h>
#include <zephyr/drivers/gpio.h>
#include <zephyr/drivers/watchdog.h>
#include <zephyr/sys/atomic.h>
#include "runtime.h"
#include "lab3_supervision.h"
#include "system_state.h"
BUILD_ASSERT(IS_ENABLED(CONFIG_WDT_DISABLE_AT_BOOT),
             "Application-owned IWDG must not be preinstalled by Zephyr boot init");

#ifndef LAB3_PROFILE_TASK
#define LAB3_PROFILE_TASK 0
#endif
static const struct gpio_dt_spec rxpins[]={GPIO_DT_SPEC_GET(DT_ALIAS(can_rx_a),gpios),GPIO_DT_SPEC_GET(DT_ALIAS(can_rx_b),gpios)};
static const struct gpio_dt_spec txpins[]={GPIO_DT_SPEC_GET(DT_ALIAS(can_tx_a),gpios),GPIO_DT_SPEC_GET(DT_ALIAS(can_tx_b),gpios)};
static const struct gpio_dt_spec errpin=GPIO_DT_SPEC_GET(DT_ALIAS(zone_err),gpios);
static const struct gpio_dt_spec profilepin=GPIO_DT_SPEC_GET(DT_ALIAS(task_exec),gpios);
static const struct gpio_dt_spec button=GPIO_DT_SPEC_GET(DT_ALIAS(sw0),gpios);
static const struct device *wdt=DEVICE_DT_GET(DT_NODELABEL(iwdg));
static atomic_t local_failed,hardware_failed,overflow,progress[WORK_COUNT];
static void (*on_button)(bool);
static struct gpio_callback button_cb;
K_MSGQ_DEFINE(button_edges,sizeof(uint64_t),8,4);
static int wdt_channel=-1;
static uint32_t required,last_feed;
static bool watchdog_started;

static int output_init(const struct gpio_dt_spec *pin,bool high)
{
    return gpio_is_ready_dt(pin) ? gpio_pin_configure_dt(pin,high ? GPIO_OUTPUT_ACTIVE : GPIO_OUTPUT_INACTIVE) : -ENODEV;
}
void lab3_progress(enum lab3_worker worker) { atomic_set(&progress[worker],k_uptime_get_32()); }
bool lab3_local_failed(void) { return atomic_get(&local_failed)!=0; }
bool lab3_runtime_failed(void) { return atomic_get(&hardware_failed)!=0; }
void lab3_err(bool error)
{ if (gpio_pin_set_dt(&errpin,error || lab3_local_failed())) atomic_set(&hardware_failed,1); }
void lab3_rx_mark(unsigned bus)
{ if (bus<2 && gpio_pin_toggle_dt(&rxpins[bus])) atomic_set(&hardware_failed,1); }
void lab3_tx_mark(unsigned bus)
{ if (bus<2 && gpio_pin_toggle_dt(&txpins[bus])) atomic_set(&hardware_failed,1); }
void lab3_profile_begin(enum lab3_profile task)
{ if ((int)task==LAB3_PROFILE_TASK && gpio_pin_set_dt(&profilepin,1)) atomic_set(&hardware_failed,1); }
void lab3_profile_end(enum lab3_profile task)
{ if ((int)task==LAB3_PROFILE_TASK && gpio_pin_set_dt(&profilepin,0)) atomic_set(&hardware_failed,1); }
static void button_isr(const struct device *dev,struct gpio_callback *cb,uint32_t pins)
{
    ARG_UNUSED(dev);ARG_UNUSED(cb);ARG_UNUSED(pins);
    uint64_t stamp=k_uptime_get();
    if (k_msgq_put(&button_edges,&stamp,K_NO_WAIT)) atomic_set(&overflow,1);
}
static void button_worker(void *a,void *b,void *c)
{
    ARG_UNUSED(a);ARG_UNUSED(b);ARG_UNUSED(c);
    struct system_state test;
    system_state_init(&test,true);system_state_sync_button(&test,0);
    uint8_t counter=0;uint64_t last_edge=0;bool have_edge=false;
    for (;;) {
        uint64_t stamp;
        int rc=k_msgq_get(&button_edges,&stamp,K_MSEC(20));
        bool previous=test.self_test;
        if (atomic_set(&overflow,0)) { test.self_test=true;test.click_pending=false; }
        if (!rc && (!have_edge || stamp-last_edge>=SELF_TEST_DEBOUNCE_MS)) {
            last_edge=stamp;have_edge=true;
            (void)system_state_button(&test,++counter,stamp);
        }
        if (test.self_test!=previous) {
            atomic_set(&local_failed,test.self_test);
            if (test.self_test) lab3_err(true);
            if (on_button) on_button(test.self_test);
        }
        lab3_progress(WORK_BUTTON);
    }
}
K_THREAD_DEFINE(button_thread,1024,button_worker,NULL,NULL,NULL,3,0,SYS_FOREVER_MS);
int lab3_runtime_init(void (*action)(bool))
{
    int rc=output_init(&errpin,true);
    for (unsigned b=0;!rc && b<2;b++) {
        rc=output_init(&rxpins[b],false);
        if (!rc) rc=output_init(&txpins[b],false);
    }
    if (!rc) rc=output_init(&profilepin,false);
    if (!rc) rc=gpio_is_ready_dt(&button) ? gpio_pin_configure_dt(&button,GPIO_INPUT) : -ENODEV;
    if (!rc) {
        on_button=action;
        gpio_init_callback(&button_cb,button_isr,BIT(button.pin));
        rc=gpio_add_callback(button.port,&button_cb);
        if (!rc) rc=gpio_pin_interrupt_configure_dt(&button,GPIO_INT_EDGE_TO_ACTIVE);
    }
    if (rc) { atomic_set(&hardware_failed,1);return rc; }
    k_thread_start(button_thread);return 0;
}
int lab3_watchdog_start(uint32_t mask)
{
    if (!device_is_ready(wdt)) return -ENODEV;
    struct wdt_timeout_cfg cfg={.window={.min=0,.max=1000},.flags=WDT_FLAG_RESET_SOC};
    wdt_channel=wdt_install_timeout(wdt,&cfg);
    if (wdt_channel<0) return wdt_channel;
    int rc=wdt_setup(wdt,0); /* Independent oscillator; no debug/sleep bypass. */
    if (rc) return rc;
    required=mask;last_feed=k_uptime_get_32();
    for (unsigned i=0;i<WORK_COUNT;i++) atomic_set(&progress[i],last_feed);
    watchdog_started=true;return 0;
}
void lab3_watchdog_poll(void)
{
    lab3_progress(WORK_MAIN);
    uint32_t now=k_uptime_get_32();
    if (!watchdog_started || now-last_feed<20) return;
    for (unsigned i=0;i<WORK_COUNT;i++)
        if ((required & BIT(i)) && !lab3_progress_fresh(now,(uint32_t)atomic_get(&progress[i]))) return;
    if (wdt_feed(wdt,wdt_channel)) atomic_set(&hardware_failed,1);
    else last_feed=now;
}
```

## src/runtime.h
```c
#ifndef LAB3_RUNTIME_H
#define LAB3_RUNTIME_H
#include <stdbool.h>
#include <stdint.h>
enum lab3_worker { WORK_MAIN,WORK_CONTROL,WORK_RELAY,WORK_PID,WORK_FORCE,WORK_BUTTON,WORK_COUNT };
enum lab3_profile { PROFILE_DISPATCH=1,PROFILE_STEER,PROFILE_DRIVE,PROFILE_PID,PROFILE_RELAY,PROFILE_FORCE,PROFILE_HB,PROFILE_HEALTH };
int lab3_runtime_init(void (*button_action)(bool));
bool lab3_local_failed(void);
bool lab3_runtime_failed(void);
void lab3_err(bool error);
void lab3_rx_mark(unsigned bus);
void lab3_tx_mark(unsigned bus);
void lab3_progress(enum lab3_worker worker);
int lab3_watchdog_start(uint32_t required_mask);
void lab3_watchdog_poll(void);
void lab3_profile_begin(enum lab3_profile task);
void lab3_profile_end(enum lab3_profile task);
#endif
```

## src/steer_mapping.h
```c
#ifndef LAB3_STEER_MAPPING_H
#define LAB3_STEER_MAPPING_H
#include <stdbool.h>
#include <stdint.h>

/* CAN uses tenths of a percent; the unchanged Lab2 driver uses percent.
 * Validate before converting, so an invalid frame never becomes a full turn. */
static inline int16_t lab3_steer_percent(int16_t command, bool normal)
{
    if (!normal || command < -1000 || command > 1000) return 0;
    return command >= 0 ? (command + 5) / 10 : (command - 5) / 10;
}
#endif
```

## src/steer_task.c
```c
#include <zephyr/kernel.h>
#include <zephyr/sys/atomic.h>
#include "servo.h"
#include "steer_task.h"
#include "steer_mapping.h"
#include "runtime.h"

/* Priority 5 preempts the priority-6 CAN/application dispatcher. Actual WCET
 * and the 1 ms local / 50 ms end-to-end deadlines still require measurement. */
K_MUTEX_DEFINE(steer_lock);
K_SEM_DEFINE(steer_event, 0, 1);
static int16_t target_percent;
static bool last_normal, submitted;
static uint32_t last_generation;
static uint32_t command_at;
static atomic_t output_failed, pulse_us;

static void steer_worker(void *a, void *b, void *c)
{
    ARG_UNUSED(a); ARG_UNUSED(b); ARG_UNUSED(c);
    for (;;) {
        int wake=k_sem_take(&steer_event, K_MSEC(20));
        k_mutex_lock(&steer_lock, K_FOREVER);
        int16_t target = target_percent;
        uint32_t at=command_at;
        k_mutex_unlock(&steer_lock);
        if (lab3_local_failed() || k_uptime_get_32()-at>=100) target=0;
        if (atomic_get(&output_failed) || (wake && target!=0) ||
            (wake && atomic_get(&pulse_us)==SERVO_PULSE_CENTER_US)) {
            lab3_progress(WORK_CONTROL);continue;
        }
        lab3_profile_begin(PROFILE_STEER);
        int rc = servo_set_steering(target);
        if (rc) {
            atomic_set(&output_failed, 1);
            /* Best effort neutral; retain a latched fault even if it works. */
            (void)servo_center();
        }
        atomic_set(&pulse_us, servo_get_last_pulse_us());
        lab3_profile_end(PROFILE_STEER);
        lab3_progress(WORK_CONTROL);
    }
}
K_THREAD_DEFINE(steer_thread, 1024, steer_worker, NULL, NULL, NULL,
                5, 0, SYS_FOREVER_MS);

int steer_task_init(void)
{
    int rc = servo_prepare(); /* PWM off until the worker takes ownership. */
    if (rc) { atomic_set(&output_failed, 1); return rc; }
    k_thread_start(steer_thread);
    steer_task_submit(0, false, 0); /* Startup/error output is neutral. */
    return 0;
}

void steer_task_submit(int16_t command, bool normal, uint32_t generation)
{
    k_mutex_lock(&steer_lock, K_FOREVER);
    bool changed = !submitted || normal != last_normal ||
                   (normal && generation != last_generation);
    if (changed) {
        target_percent = lab3_steer_percent(command, normal);
        last_normal = normal;
        last_generation = generation;
        command_at=k_uptime_get_32();
        submitted = true;
    }
    k_mutex_unlock(&steer_lock);
    if (changed) k_sem_give(&steer_event);
}

bool steer_task_failed(void) { return atomic_get(&output_failed) != 0; }
uint32_t steer_task_pulse_us(void) { return (uint32_t)atomic_get(&pulse_us); }
```
